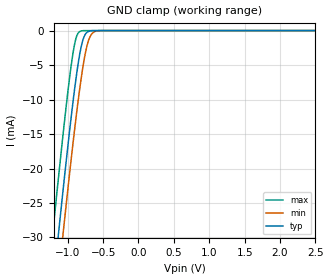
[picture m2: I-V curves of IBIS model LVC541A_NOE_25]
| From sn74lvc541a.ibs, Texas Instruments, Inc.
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[Model]   LVC541A_NOE_25
Model_type  Input
Vinl=0.7
Vinh=1.7
| variable   typ   min   max
C_comp   3.23pF   2.88pF   3.88pF
[Temperature Range]   40   100   -40
| Ambient temperature   25   85   -40
[Voltage range]   2.5   2.3   2.7
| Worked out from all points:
|   GND clamp passes 1 mA (typ) near -0.77 V on its own axis
[GND Clamp]
| LVC541A_NOE_25
|   Voltage   I(typ)   I(min)   I(max)
-5V       -443mA     -448.4mA   -436.3mA
-1.23V    -39.45mA   -45.8mA    -31.31mA
-1.205V   -36.93mA   -43.28mA   -28.78mA
-1.13V    -29.46mA   -35.8mA    -21.3mA
-1.07V    -23.6mA    -29.93mA   -15.5mA
-1.05V    -21.69mA   -27.99mA   -13.61mA
-955mV    -12.94mA   -19.06mA   -5.398mA
-885mV    -7.147mA   -12.88mA   -1.216mA
-780mV    -1.214mA   -4.964mA   -14.58uA
-715mV    -173.8uA   -1.747mA   -688.1nA
-645mV    -15.72uA   -327uA     -25.52nA
2.5V      7.132pA    13.06pA    6.802pA
